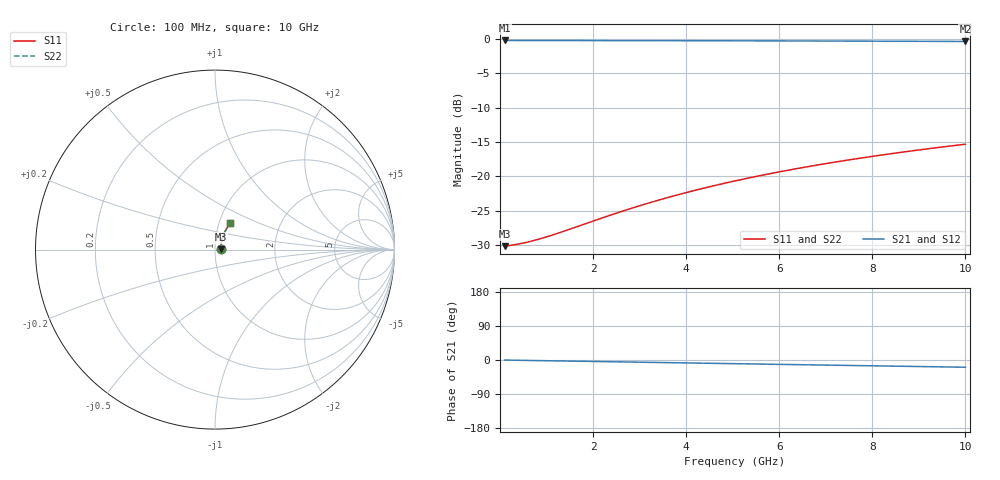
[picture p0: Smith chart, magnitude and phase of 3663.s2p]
# Hz S RI R 50.00
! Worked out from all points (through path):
!   100 points, 100 MHz to 10 GHz, reference 50 ohm
!   highest |S21| = -0.28 dB at 100 MHz (marker M1); lowest = -0.4 dB at 10 GHz (marker M2)
!   group delay of S21, straight-line fit = 5.31 ps
!   lowest |S11| = -30.1 dB at 100 MHz (marker M3), VSWR 1.06, Z = 53.2 + j0.174 ohm
!   |S11| at or under -10 dB: start of sweep to end of sweep
!   |S22| runs from -30.1 to -15.3 dB; largest |S21 - S12| = 0
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1e8  0.0312 0.00163  0.9688 -0.00326  0.9688 -0.00326  0.0312 0.00163
3e8  0.0316 0.00488  0.9684 -0.00979  0.9684 -0.00979  0.0316 0.00488
5e8  0.0319 0.00813  0.9681 -0.0163  0.9681 -0.0163  0.0319 0.00813
8e8  0.0323 0.013  0.9676 -0.0261  0.9676 -0.0261  0.0323 0.013
1e9  0.0326 0.0162  0.9672 -0.0326  0.9672 -0.0326  0.0326 0.0162
1.2e9  0.033 0.0195  0.9668 -0.0391  0.9668 -0.0391  0.033 0.0195
1.8e9  0.0342 0.0291  0.9653 -0.0586  0.9653 -0.0586  0.0342 0.0291
2.2e9  0.0353 0.0355  0.964 -0.0715  0.964 -0.0715  0.0353 0.0355
2.6e9  0.0364 0.0419  0.9626 -0.0844  0.9626 -0.0844  0.0364 0.0419
3e9  0.0378 0.0482  0.961 -0.0973  0.961 -0.0973  0.0378 0.0482
3.4e9  0.0393 0.0545  0.9591 -0.1101  0.9591 -0.1101  0.0393 0.0545
3.8e9  0.0409 0.0608  0.957 -0.1229  0.957 -0.1229  0.0409 0.0608
4.2e9  0.0428 0.067  0.9548 -0.1357  0.9548 -0.1357  0.0428 0.067
4.6e9  0.0447 0.0731  0.9523 -0.1484  0.9523 -0.1484  0.0447 0.0731
5.1e9  0.0474 0.0807  0.949 -0.1641  0.949 -0.1641  0.0474 0.0807
5.5e9  0.0498 0.0867  0.946 -0.1767  0.946 -0.1767  0.0498 0.0867
5.9e9  0.0523 0.0926  0.9429 -0.1891  0.9429 -0.1891  0.0523 0.0926
6.7e9  0.0577 0.1042  0.9361 -0.2138  0.9361 -0.2138  0.0577 0.1042
7.5e9  0.0637 0.1154  0.9285 -0.2382  0.9285 -0.2382  0.0637 0.1154
8.4e9  0.0712 0.1276  0.9191 -0.2651  0.9191 -0.2651  0.0712 0.1276
9.2e9  0.0784 0.1381  0.9099 -0.2887  0.9099 -0.2887  0.0784 0.1381
1e10  0.0861 0.148  0.9001 -0.3117  0.9001 -0.3117  0.0861 0.148
